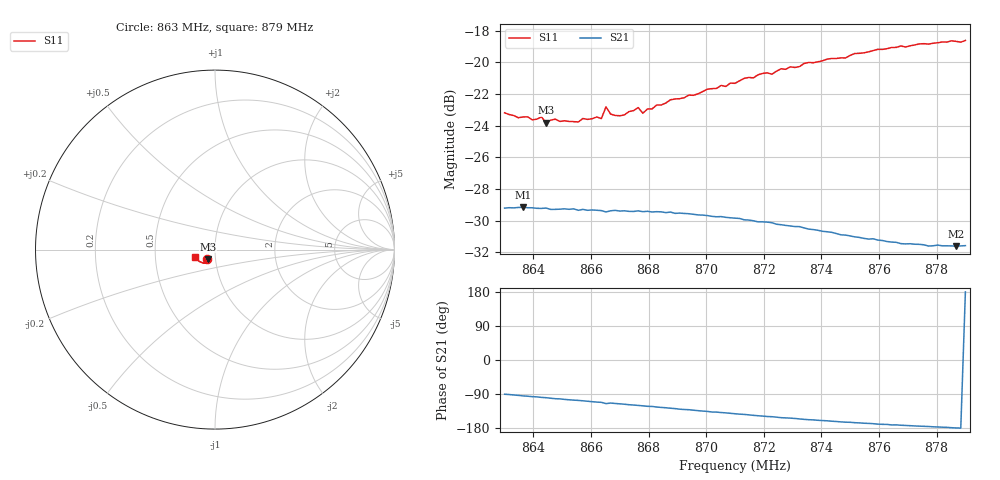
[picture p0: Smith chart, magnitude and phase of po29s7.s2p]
# HZ S RI R 50
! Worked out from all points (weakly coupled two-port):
!   101 points, 863 MHz to 879 MHz, reference 50 ohm
!   highest |S21| = -29.16 dB at 863.64 MHz (marker M1); lowest = -31.6 dB at 878.68 MHz (marker M2)
!   lowest |S11| = -23.8 dB at 864.44 MHz (marker M3), VSWR 1.14, Z = 46.1 - j4.81 ohm
!   |S11| at or under -10 dB: start of sweep to end of sweep
!   S12 and S22 are empty: the file has one direction only
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8.63e8  -0.0453 -0.0525  -0.000202 -0.0346  0 0  0 0
8.6364e8  -0.0421 -0.0524  -0.00288 -0.0347  0 0  0 0
8.6396e8  -0.0402 -0.0521  -0.00405 -0.0345  0 0  0 0
8.6428e8  -0.0389 -0.0548  -0.00521 -0.0341  0 0  0 0
8.6444e8  -0.0383 -0.052  -0.00571 -0.0342  0 0  0 0
8.6476e8  -0.0379 -0.0542  -0.00722 -0.0335  0 0  0 0
8.6556e8  -0.0352 -0.0544  -0.00975 -0.0326  0 0  0 0
8.6572e8  -0.0351 -0.0565  -0.0104 -0.0327  0 0  0 0
8.6636e8  -0.0353 -0.0563  -0.0126 -0.0316  0 0  0 0
8.6652e8  -0.04 -0.0603  -0.0143 -0.0305  0 0  0 0
8.6668e8  -0.0348 -0.0592  -0.0136 -0.0311  0 0  0 0
8.67e8  -0.0343 -0.0585  -0.0147 -0.0305  0 0  0 0
8.6764e8  -0.0355 -0.0626  -0.0169 -0.0294  0 0  0 0
8.678e8  -0.0337 -0.0603  -0.0174 -0.0289  0 0  0 0
8.6844e8  -0.0349 -0.0645  -0.0194 -0.0275  0 0  0 0
8.71e8  -0.0463 -0.0724  -0.0253 -0.0199  0 0  0 0
8.7196e8  -0.0538 -0.075  -0.0266 -0.0166  0 0  0 0
8.7228e8  -0.0548 -0.0736  -0.0269 -0.0157  0 0  0 0
8.7372e8  -0.0664 -0.0745  -0.0275 -0.0111  0 0  0 0
8.7644e8  -0.0921 -0.063  -0.0267 -0.00408  0 0  0 0
8.7868e8  -0.1085 -0.0427  -0.0262 -0.000341  0 0  0 0
8.79e8  -0.1104 -0.0399  -0.0263 0.000107  0 0  0 0
